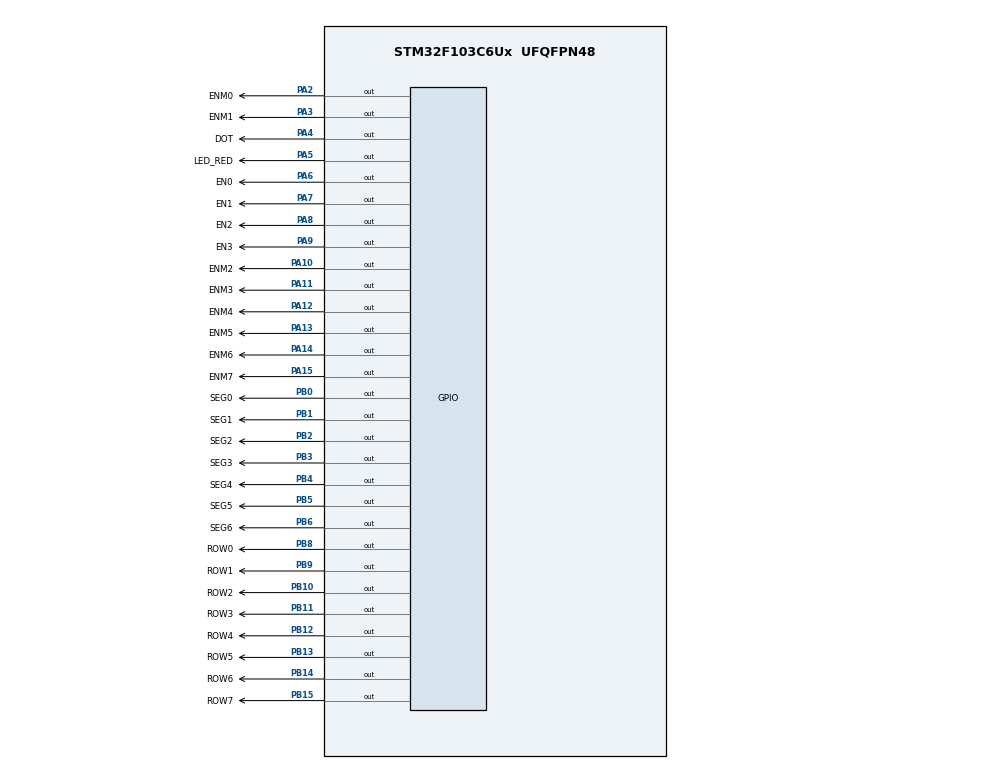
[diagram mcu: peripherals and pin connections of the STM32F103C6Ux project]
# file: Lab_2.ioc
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Mcu.Family=STM32F1
Mcu.Name=STM32F103C6Ux
Mcu.Package=UFQFPN48
NVIC.PriorityGroup=NVIC_PRIORITYGROUP_4
NVIC.TIM2_IRQn=true\:0\:0\:false\:false\:true\:true\:true
PA10.GPIO_Label=ENM2
PA10.Signal=GPIO_Output
PA11.GPIO_Label=ENM3
PA11.Signal=GPIO_Output
PA12.GPIO_Label=ENM4
PA12.Signal=GPIO_Output
PA13.GPIO_Label=ENM5
PA13.Signal=GPIO_Output
PA14.GPIO_Label=ENM6
PA14.Signal=GPIO_Output
PA15.GPIO_Label=ENM7
PA15.Signal=GPIO_Output
PA2.GPIO_Label=ENM0
PA2.Signal=GPIO_Output
PA3.GPIO_Label=ENM1
PA3.Signal=GPIO_Output
PA4.GPIO_Label=DOT
PA4.Signal=GPIO_Output
PA5.GPIO_Label=LED_RED
PA5.Signal=GPIO_Output
PA6.GPIO_Label=EN0
PA6.Signal=GPIO_Output
PA7.GPIO_Label=EN1
PA7.Signal=GPIO_Output
PA8.GPIO_Label=EN2
PA8.Signal=GPIO_Output
PA9.GPIO_Label=EN3
PA9.Signal=GPIO_Output
PB0.GPIO_Label=SEG0
PB0.Signal=GPIO_Output
PB1.GPIO_Label=SEG1
PB1.Signal=GPIO_Output
PB10.GPIO_Label=ROW2
PB10.Signal=GPIO_Output
PB11.GPIO_Label=ROW3
PB11.Signal=GPIO_Output
PB12.GPIO_Label=ROW4
PB12.Signal=GPIO_Output
PB13.GPIO_Label=ROW5
PB13.Signal=GPIO_Output
PB14.GPIO_Label=ROW6
PB14.Signal=GPIO_Output
PB15.GPIO_Label=ROW7
PB15.Signal=GPIO_Output
PB2.GPIO_Label=SEG2
PB2.Signal=GPIO_Output
PB3.GPIO_Label=SEG3
PB3.Signal=GPIO_Output
PB4.GPIO_Label=SEG4
PB4.Signal=GPIO_Output
PB5.GPIO_Label=SEG5
PB5.Signal=GPIO_Output
PB6.GPIO_Label=SEG6
PB6.Signal=GPIO_Output
PB8.GPIO_Label=ROW0
PB8.Signal=GPIO_Output
PB9.GPIO_Label=ROW1
PB9.Signal=GPIO_Output
ProjectManager.HeapSize=0x200
ProjectManager.StackSize=0x400
ProjectManager.TargetToolchain=STM32CubeIDE
RCC.APB1Freq_Value=8000000
RCC.APB2Freq_Value=8000000
TIM2.Period=9
TIM2.Prescaler=7999
VP_SYS_VS_ND.Mode=No_Debug
VP_TIM2_VS_ClockSourceINT.Mode=Internal
board=custom

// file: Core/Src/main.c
/* USER CODE BEGIN Header */
/**
  ******************************************************************************
  * @file           : main.c
  * @brief          : Main program body
  ******************************************************************************
  * @attention
  *
  * <h2><center>&copy; Copyright (c) 2024 STMicroelectronics.
  * All rights reserved.</center></h2>
  *
  * This software component is licensed by ST under BSD 3-Clause license,
  * the "License"; You may not use this file except in compliance with the
  * License. You may obtain a copy of the License at:
  *                        opensource.org/licenses/BSD-3-Clause
  *
  ******************************************************************************
  */
/* USER CODE END Header */
#include "main.h"

/* USER CODE BEGIN Includes */
#include  "software_timer.h"
#include "exercise.h"
/* USER CODE END Includes */

/* USER CODE BEGIN PD */
#define DOT 0
#define LED_SEG 1
#define MATRIX 2
#define SHIFT 3
/* USER CODE END PD */

TIM_HandleTypeDef htim2;

void SystemClock_Config(void);
static void MX_TIM2_Init(void);
static void MX_GPIO_Init(void);

int main(void)
{

  /* MCU Configuration--------------------------------------------------------*/

  /* Reset of all peripherals, Initializes the Flash interface and the Systick. */
  HAL_Init();

  /* Configure the system clock */
  SystemClock_Config();

  /* Initialize all configured peripherals */
  MX_TIM2_Init();
  MX_GPIO_Init();
  /* USER CODE BEGIN 2 */
  HAL_TIM_Base_Start_IT (& htim2 );
  // DOT blink each second
  setTimer(DOT, 1000);
  // LED switch quarter of second
  setTimer(LED_SEG, 250);
  // MATRIX scan 1/8 second
  setTimer(MATRIX, 10);
  // SHIFT
  setTimer(SHIFT, 60);
  //init clock
  init_clock();
  // init
  /* USER CODE END 2 */

  /* Infinite loop */
  /* USER CODE BEGIN WHILE */
  while (1)
  {
	 if (flag_timer[DOT] == 1){
		 run_DOT();
		 run_clock();
		 setTimer(DOT, 1000);
	 }
	 if (flag_timer[LED_SEG] == 1){
		 if (index_led >= 4)
			 index_led = 0;
		 update7SEG(index_led++);
		 setTimer(LED_SEG, 250);
	 }
	 if (flag_timer[MATRIX] == 1){
		 if (index_led_matrix >= 8)
			 index_led_matrix = 0;
		 updateLEDMatrix(index_led_matrix ++);
		 setTimer(MATRIX, 10);
	 }
	 if (flag_timer[SHIFT] == 1){
		shiftMatrix();
		setTimer(SHIFT, 60);
	 }
    /* USER CODE END WHILE */

  }
}

void SystemClock_Config(void)
{
  RCC_OscInitTypeDef RCC_OscInitStruct = {0};
  RCC_ClkInitTypeDef RCC_ClkInitStruct = {0};

  /** Initializes the RCC Oscillators according to the specified parameters
  * in the RCC_OscInitTypeDef structure.
  */
  RCC_OscInitStruct.OscillatorType = RCC_OSCILLATORTYPE_HSI;
  RCC_OscInitStruct.HSIState = RCC_HSI_ON;
  RCC_OscInitStruct.HSICalibrationValue = RCC_HSICALIBRATION_DEFAULT;
  RCC_OscInitStruct.PLL.PLLState = RCC_PLL_NONE;
  if (HAL_RCC_OscConfig(&RCC_OscInitStruct) != HAL_OK)
  {
    Error_Handler();
  }
  /** Initializes the CPU, AHB and APB buses clocks
  */
  RCC_ClkInitStruct.ClockType = RCC_CLOCKTYPE_HCLK|RCC_CLOCKTYPE_SYSCLK
                              |RCC_CLOCKTYPE_PCLK1|RCC_CLOCKTYPE_PCLK2;
  RCC_ClkInitStruct.SYSCLKSource = RCC_SYSCLKSOURCE_HSI;
  RCC_ClkInitStruct.AHBCLKDivider = RCC_SYSCLK_DIV1;
  RCC_ClkInitStruct.APB1CLKDivider = RCC_HCLK_DIV1;
  RCC_ClkInitStruct.APB2CLKDivider = RCC_HCLK_DIV1;

  if (HAL_RCC_ClockConfig(&RCC_ClkInitStruct, FLASH_LATENCY_0) != HAL_OK)
  {
    Error_Handler();
  }
}

static void MX_TIM2_Init(void)
{

  TIM_ClockConfigTypeDef sClockSourceConfig = {0};
  TIM_MasterConfigTypeDef sMasterConfig = {0};

  htim2.Instance = TIM2;
  htim2.Init.Prescaler = 7999;
  htim2.Init.CounterMode = TIM_COUNTERMODE_UP;
  htim2.Init.Period = 9;
  htim2.Init.ClockDivision = TIM_CLOCKDIVISION_DIV1;
  htim2.Init.AutoReloadPreload = TIM_AUTORELOAD_PRELOAD_DISABLE;
  if (HAL_TIM_Base_Init(&htim2) != HAL_OK)
  {
    Error_Handler();
  }
  sClockSourceConfig.ClockSource = TIM_CLOCKSOURCE_INTERNAL;
  if (HAL_TIM_ConfigClockSource(&htim2, &sClockSourceConfig) != HAL_OK)
  {
    Error_Handler();
  }
  sMasterConfig.MasterOutputTrigger = TIM_TRGO_RESET;
  sMasterConfig.MasterSlaveMode = TIM_MASTERSLAVEMODE_DISABLE;
  if (HAL_TIMEx_MasterConfigSynchronization(&htim2, &sMasterConfig) != HAL_OK)
  {
    Error_Handler();
  }

}

static void MX_GPIO_Init(void)
{
  GPIO_InitTypeDef GPIO_InitStruct = {0};

  /* GPIO Ports Clock Enable */
  __HAL_RCC_GPIOA_CLK_ENABLE();
  __HAL_RCC_GPIOB_CLK_ENABLE();

  /*Configure GPIO pin Output Level */
  HAL_GPIO_WritePin(GPIOA, ENM0_Pin|ENM1_Pin|DOT_Pin|LED_RED_Pin
                          |EN0_Pin|EN1_Pin|EN2_Pin|EN3_Pin
                          |ENM2_Pin|ENM3_Pin|ENM4_Pin|ENM5_Pin
                          |ENM6_Pin|ENM7_Pin, GPIO_PIN_RESET);

  /*Configure GPIO pin Output Level */
  HAL_GPIO_WritePin(GPIOB, SEG0_Pin|SEG1_Pin|SEG2_Pin|ROW2_Pin
                          |ROW3_Pin|ROW4_Pin|ROW5_Pin|ROW6_Pin
                          |ROW7_Pin|SEG3_Pin|SEG4_Pin|SEG5_Pin
                          |SEG6_Pin|ROW0_Pin|ROW1_Pin, GPIO_PIN_RESET);

  /*Configure GPIO pins : ENM0_Pin ENM1_Pin DOT_Pin LED_RED_Pin
                           EN0_Pin EN1_Pin EN2_Pin EN3_Pin
                           ENM2_Pin ENM3_Pin ENM4_Pin ENM5_Pin
                           ENM6_Pin ENM7_Pin */
  GPIO_InitStruct.Pin = ENM0_Pin|ENM1_Pin|DOT_Pin|LED_RED_Pin
                          |EN0_Pin|EN1_Pin|EN2_Pin|EN3_Pin
                          |ENM2_Pin|ENM3_Pin|ENM4_Pin|ENM5_Pin
                          |ENM6_Pin|ENM7_Pin;
  GPIO_InitStruct.Mode = GPIO_MODE_OUTPUT_PP;
  GPIO_InitStruct.Pull = GPIO_NOPULL;
  GPIO_InitStruct.Speed = GPIO_SPEED_FREQ_LOW;
  HAL_GPIO_Init(GPIOA, &GPIO_InitStruct);

  /*Configure GPIO pins : SEG0_Pin SEG1_Pin SEG2_Pin ROW2_Pin
                           ROW3_Pin ROW4_Pin ROW5_Pin ROW6_Pin
                           ROW7_Pin SEG3_Pin SEG4_Pin SEG5_Pin
                           SEG6_Pin ROW0_Pin ROW1_Pin */
  GPIO_InitStruct.Pin = SEG0_Pin|SEG1_Pin|SEG2_Pin|ROW2_Pin
                          |ROW3_Pin|ROW4_Pin|ROW5_Pin|ROW6_Pin
                          |ROW7_Pin|SEG3_Pin|SEG4_Pin|SEG5_Pin
                          |SEG6_Pin|ROW0_Pin|ROW1_Pin;
  GPIO_InitStruct.Mode = GPIO_MODE_OUTPUT_PP;
  GPIO_InitStruct.Pull = GPIO_NOPULL;
  GPIO_InitStruct.Speed = GPIO_SPEED_FREQ_LOW;
  HAL_GPIO_Init(GPIOB, &GPIO_InitStruct);

}

/* USER CODE BEGIN 4 */
void HAL_TIM_PeriodElapsedCallback(TIM_HandleTypeDef *htim){
	runTimer(DOT);
	runTimer(LED_SEG);
	runTimer(MATRIX);
	runTimer(SHIFT);
}
/* USER CODE END 4 */

void Error_Handler(void)
{
  __disable_irq();
  while (1)
  {
  }
}

/************************ (C) COPYRIGHT STMicroelectronics *****END OF FILE****/
